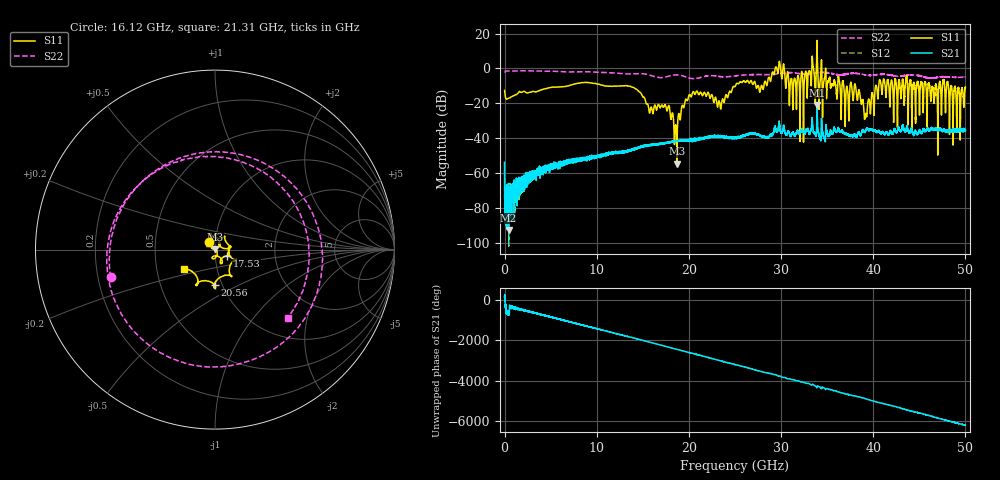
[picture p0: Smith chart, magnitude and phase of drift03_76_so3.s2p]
!Created with skrf (http://scikit-rf.org).
# Hz S RI R 50.0
!freq ReS11 ImS11 ReS21 ImS21 ReS12 ImS12 ReS22 ImS22
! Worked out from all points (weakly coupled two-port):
!   10001 points, 300 kHz to 50 GHz, reference 50 ohm
!   highest |S21| = -21.00 dB at 33.9 GHz (marker M1); lowest = -92.8 dB at 435.3 MHz (marker M2)
!   lowest |S11| = -54.7 dB at 18.69 GHz (marker M3), VSWR 1.00, Z = 49.9 + j0.163 ohm
!   |S11| at or under -10 dB: start of sweep to 6.943 GHz; 13.31 GHz to 25.04 GHz (11.73 GHz wide, 61.2 % of centre); 38.07 GHz to 40.26 GHz (2.183 GHz wide, 5.57 % of centre) (the widest 3 of 54)
!   |S22| runs from -5.9 to -1.3 dB; largest |S21 - S12| = 0.0098
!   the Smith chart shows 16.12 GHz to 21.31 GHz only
!   S11 on the Smith chart (normalised r, x): 16.12 GHz: 0.94, +0.08; 17.53 GHz: 1.14, -0.08; 20.56 GHz: 0.92, -0.38; 21.31 GHz: 0.69, -0.16
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300000  -0.2091 -0.1034  -0.00131 0.0015  -0.00179 0.00112  -0.7621 -0.203
4.352974e8  -0.0875 0.1086  2.27e-05 2.81e-06  -3.09e-05 0.000167  -0.5369 0.6546
1.540291e9  0.2061 0.0414  -6.22e-05 -0.000747  -0.000163 -0.000609  0.85 0.0695
3.160281e9  -0.2188 -0.00845  0.000145 0.000889  0.000167 0.000869  -0.8442 -0.0252
4.665272e9  0.2636 0.0611  -0.00022 -0.00129  -0.000124 -0.00127  0.819 0.1431
6.360262e9  -0.3005 0.00049  0.000584 0.00173  0.000629 0.0017  -0.8037 -0.0439
8.33525e9  0.2841 -0.2678  -0.00232 -0.00127  -0.00224 -0.000807  0.6028 -0.5342
9.575243e9  -0.372 -0.0482  0.00136 0.00235  0.00158 0.00237  -0.7862 -0.0966
1.124523e10  0.306 0.0233  -0.00221 -0.0027  -0.00244 -0.0028  0.7572 0.0205
1.61152e10  -0.0319 0.0407  0.00605 0.00229  0.00612 0.00203  -0.5811 -0.1538
1.66702e10  0.0537 0.0752  0.00466 -0.00495  0.00454 -0.005  -0.3626 0.4164
1.753019e10  0.0662 -0.0349  -0.00611 -0.00388  -0.0063 -0.0038  0.493 0.2876
1.869019e10  -0.000857 0.00164  0.00217 0.00806  0.0023 0.0081  -0.082 -0.6487
2.056018e10  -0.00236 -0.1987  -0.00749 -0.00446  -0.00769 -0.00487  0.36 0.358
2.131017e10  -0.1729 -0.1092  -0.00525 0.00749  -0.00558 0.0083  0.4067 -0.3794
2.500015e10  -0.2969 -0.0478  0.00798 0.00656  0.00788 0.00623  -0.1813 -0.5804
3.052012e10  0.2292 -0.1495  -0.00176 0.0126  -0.00176 0.0126  0.7443 -0.0686
3.213011e10  0.2018 0.3767  -0.000893 -0.0148  -0.000438 -0.0153  -0.6969 0.00912
3.33351e10  0.4722 -1.024  -0.00409 0.026  -0.00669 0.0251  0.6142 0.3687
3.38951e10  -0.6087 -6.332  0.0879 0.0146  0.082 0.00919  0.6843 -0.3206
4.167005e10  -0.2258 0.285  -0.0115 -0.0043  -0.0116 -0.00494  -0.65 -0.0567
5e10  -0.1417 -0.2536  0.000414 -0.017  0.0007 -0.0169  0.4736 -0.3121
